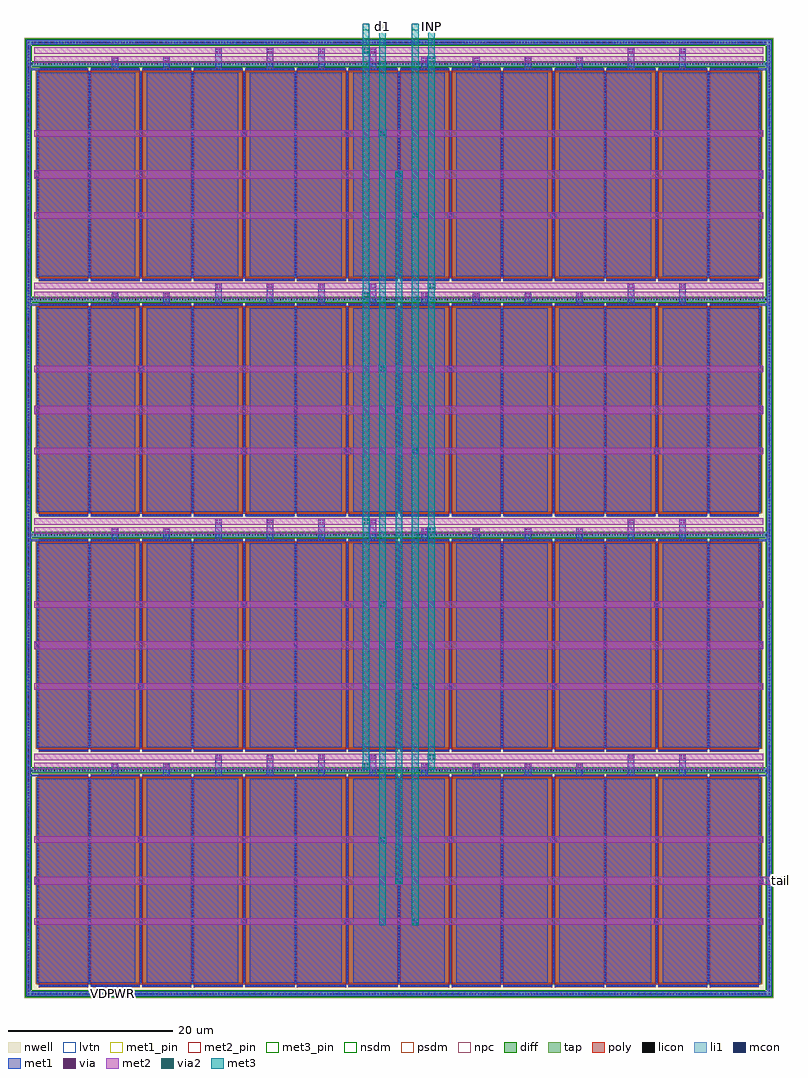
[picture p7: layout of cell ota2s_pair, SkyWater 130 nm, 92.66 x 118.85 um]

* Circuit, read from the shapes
.subckt ota2s_pair INN INP VDPWR d1 tail x1
XM1 tail VDPWR tail VDPWR sky130_fd_pr__pfet_01v8_lvt w=25 l=6 m=8
XM2 d1 INN tail VDPWR sky130_fd_pr__pfet_01v8_lvt w=25 l=6 m=24
XM3 x1 INP tail VDPWR sky130_fd_pr__pfet_01v8_lvt w=25 l=6 m=24
.ends

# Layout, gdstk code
import gdstk
lib = gdstk.Library(unit=1e-6, precision=1e-09)
def R(c, l, rs):  # rectangles x0, y0, x1, y1
    for r in rs: c.add(gdstk.rectangle(r[:2], r[2:], *l))
def A(c, l, x, y, w, h, nx, ny, dx, dy):  # array of equal rectangles
    R(c, l, [(x+i*dx, y+j*dy, x+i*dx+w, y+j*dy+h) for i in range(nx) for j in range(ny)])
nwell = (64, 20)
diff = (65, 20)
tap = (65, 44)
poly = (66, 20)
licon = (66, 44)
li1 = (67, 20)
mcon = (67, 44)
met1_pin = (68, 16)
met1 = (68, 20)
via = (68, 44)
met2_pin = (69, 16)
met2 = (69, 20)
via2 = (69, 44)
met3_pin = (70, 16)
met3 = (70, 20)
nsdm = (93, 44)
psdm = (94, 20)
npc = (95, 20)
lvtn = (125, 44)

sky130_fd_pr__pfet_01v8_ = lib.new_cell('sky130_fd_pr__pfet_01v8_lvt_BEZS2E')
R(sky130_fd_pr__pfet_01v8_, nwell, [(-44.355,-13,44.355,13)])
R(sky130_fd_pr__pfet_01v8_, diff, [(-44.175,-12.5,44.175,12.5)])
A(sky130_fd_pr__pfet_01v8_, poly, -43.885, -12.985, 6, 25.97, 14, 1, 6.29, 0)
A(sky130_fd_pr__pfet_01v8_, licon, -43.69, -12.905, 0.17, 0.17, 17, 2, 0.34, 25.64)
A(sky130_fd_pr__pfet_01v8_, licon, -37.4, -12.905, 0.17, 0.17, 17, 2, 0.34, 25.64)
A(sky130_fd_pr__pfet_01v8_, licon, -31.11, -12.905, 0.17, 0.17, 17, 2, 0.34, 25.64)
A(sky130_fd_pr__pfet_01v8_, licon, -24.82, -12.905, 0.17, 0.17, 17, 2, 0.34, 25.64)
A(sky130_fd_pr__pfet_01v8_, licon, -18.53, -12.905, 0.17, 0.17, 17, 2, 0.34, 25.64)
A(sky130_fd_pr__pfet_01v8_, licon, -12.24, -12.905, 0.17, 0.17, 17, 2, 0.34, 25.64)
A(sky130_fd_pr__pfet_01v8_, licon, -5.95, -12.905, 0.17, 0.17, 17, 2, 0.34, 25.64)
A(sky130_fd_pr__pfet_01v8_, licon, 0.34, -12.905, 0.17, 0.17, 17, 2, 0.34, 25.64)
A(sky130_fd_pr__pfet_01v8_, licon, 6.63, -12.905, 0.17, 0.17, 17, 2, 0.34, 25.64)
A(sky130_fd_pr__pfet_01v8_, licon, 12.92, -12.905, 0.17, 0.17, 17, 2, 0.34, 25.64)
A(sky130_fd_pr__pfet_01v8_, licon, 19.21, -12.905, 0.17, 0.17, 17, 2, 0.34, 25.64)
A(sky130_fd_pr__pfet_01v8_, licon, 25.5, -12.905, 0.17, 0.17, 17, 2, 0.34, 25.64)
A(sky130_fd_pr__pfet_01v8_, licon, 31.79, -12.905, 0.17, 0.17, 17, 2, 0.34, 25.64)
A(sky130_fd_pr__pfet_01v8_, licon, 38.08, -12.905, 0.17, 0.17, 17, 2, 0.34, 25.64)
A(sky130_fd_pr__pfet_01v8_, licon, -44.115, -12.325, 0.17, 0.17, 15, 73, 6.29, 0.34)
A(sky130_fd_pr__pfet_01v8_, li1, -43.885, -12.905, 6, 0.17, 14, 2, 6.29, 25.64)
A(sky130_fd_pr__pfet_01v8_, li1, -44.115, -12.52, 0.17, 25.04, 15, 1, 6.29, 0)
A(sky130_fd_pr__pfet_01v8_, mcon, -43.67, -12.905, 0.17, 0.17, 16, 2, 0.36, 25.64)
A(sky130_fd_pr__pfet_01v8_, mcon, -37.38, -12.905, 0.17, 0.17, 16, 2, 0.36, 25.64)
A(sky130_fd_pr__pfet_01v8_, mcon, -31.09, -12.905, 0.17, 0.17, 16, 2, 0.36, 25.64)
A(sky130_fd_pr__pfet_01v8_, mcon, -24.8, -12.905, 0.17, 0.17, 16, 2, 0.36, 25.64)
A(sky130_fd_pr__pfet_01v8_, mcon, -18.51, -12.905, 0.17, 0.17, 16, 2, 0.36, 25.64)
A(sky130_fd_pr__pfet_01v8_, mcon, -12.22, -12.905, 0.17, 0.17, 16, 2, 0.36, 25.64)
A(sky130_fd_pr__pfet_01v8_, mcon, -5.93, -12.905, 0.17, 0.17, 16, 2, 0.36, 25.64)
A(sky130_fd_pr__pfet_01v8_, mcon, 0.36, -12.905, 0.17, 0.17, 16, 2, 0.36, 25.64)
A(sky130_fd_pr__pfet_01v8_, mcon, 6.65, -12.905, 0.17, 0.17, 16, 2, 0.36, 25.64)
A(sky130_fd_pr__pfet_01v8_, mcon, 12.94, -12.905, 0.17, 0.17, 16, 2, 0.36, 25.64)
A(sky130_fd_pr__pfet_01v8_, mcon, 19.23, -12.905, 0.17, 0.17, 16, 2, 0.36, 25.64)
A(sky130_fd_pr__pfet_01v8_, mcon, 25.52, -12.905, 0.17, 0.17, 16, 2, 0.36, 25.64)
A(sky130_fd_pr__pfet_01v8_, mcon, 31.81, -12.905, 0.17, 0.17, 16, 2, 0.36, 25.64)
A(sky130_fd_pr__pfet_01v8_, mcon, 38.1, -12.905, 0.17, 0.17, 16, 2, 0.36, 25.64)
A(sky130_fd_pr__pfet_01v8_, mcon, -44.115, -12.325, 0.17, 0.17, 15, 69, 6.29, 0.36)
A(sky130_fd_pr__pfet_01v8_, met1, -43.865, -12.935, 5.96, 0.23, 14, 2, 6.29, 25.64)
A(sky130_fd_pr__pfet_01v8_, met1, -44.145, -12.5, 0.23, 25, 15, 1, 6.29, 0)
R(sky130_fd_pr__pfet_01v8_, psdm, [(-44.3,-12.625,44.3,12.625)])
A(sky130_fd_pr__pfet_01v8_, npc, -43.79, -13.005, 5.81, 0.37, 14, 2, 6.29, 25.64)
R(sky130_fd_pr__pfet_01v8_, lvtn, [(-44.065,-12.68,44.065,12.68)])
sky130_fd_pr__pfet_01v8_.add(gdstk.Label('G13', (40.885,12.82), layer=67, texttype=5))
sky130_fd_pr__pfet_01v8_.add(gdstk.Label('G12', (34.595,12.82), layer=67, texttype=5))
sky130_fd_pr__pfet_01v8_.add(gdstk.Label('G11', (28.305,12.82), layer=67, texttype=5))
sky130_fd_pr__pfet_01v8_.add(gdstk.Label('G10', (22.015,12.82), layer=67, texttype=5))
sky130_fd_pr__pfet_01v8_.add(gdstk.Label('D10', (18.87,0), layer=67, texttype=5))
sky130_fd_pr__pfet_01v8_.add(gdstk.Label('G9', (15.725,12.82), layer=67, texttype=5))
sky130_fd_pr__pfet_01v8_.add(gdstk.Label('S13', (37.74,0), layer=67, texttype=5))
sky130_fd_pr__pfet_01v8_.add(gdstk.Label('S9', (12.58,0), layer=67, texttype=5))
sky130_fd_pr__pfet_01v8_.add(gdstk.Label('S7', (0,0), layer=67, texttype=5))
sky130_fd_pr__pfet_01v8_.add(gdstk.Label('G6', (-3.145,12.82), layer=67, texttype=5))
sky130_fd_pr__pfet_01v8_.add(gdstk.Label('D0', (-44.03,0), layer=67, texttype=5))
sky130_fd_pr__pfet_01v8_.add(gdstk.Label('G8', (9.435,12.82), layer=67, texttype=5))
sky130_fd_pr__pfet_01v8_.add(gdstk.Label('G3', (-22.015,12.82), layer=67, texttype=5))
sky130_fd_pr__pfet_01v8_.add(gdstk.Label('D8', (6.29,0), layer=67, texttype=5))
sky130_fd_pr__pfet_01v8_.add(gdstk.Label('G1', (-34.595,12.82), layer=67, texttype=5))
sky130_fd_pr__pfet_01v8_.add(gdstk.Label('S11', (25.16,0), layer=67, texttype=5))
sky130_fd_pr__pfet_01v8_.add(gdstk.Label('D2', (-31.45,0), layer=67, texttype=5))
sky130_fd_pr__pfet_01v8_.add(gdstk.Label('G7', (3.145,12.82), layer=67, texttype=5))
sky130_fd_pr__pfet_01v8_.add(gdstk.Label('G2', (-28.305,12.82), layer=67, texttype=5))
sky130_fd_pr__pfet_01v8_.add(gdstk.Label('S3', (-25.16,0), layer=67, texttype=5))
sky130_fd_pr__pfet_01v8_.add(gdstk.Label('S1', (-37.74,0), layer=67, texttype=5))
sky130_fd_pr__pfet_01v8_.add(gdstk.Label('S5', (-12.58,0), layer=67, texttype=5))
sky130_fd_pr__pfet_01v8_.add(gdstk.Label('D4', (-18.87,0), layer=67, texttype=5))
sky130_fd_pr__pfet_01v8_.add(gdstk.Label('G0', (-40.885,12.82), layer=67, texttype=5))
sky130_fd_pr__pfet_01v8_.add(gdstk.Label('G4', (-15.725,12.82), layer=67, texttype=5))
sky130_fd_pr__pfet_01v8_.add(gdstk.Label('D12', (31.45,0), layer=67, texttype=5))
sky130_fd_pr__pfet_01v8_.add(gdstk.Label('G5', (-9.435,12.82), layer=67, texttype=5))
sky130_fd_pr__pfet_01v8_.add(gdstk.Label('D6', (-6.29,0), layer=67, texttype=5))

ota2s_pair_arr = lib.new_cell('ota2s_pair_arr')
R(ota2s_pair_arr, nwell, [(-0.25,-0.25,91.16,116.85)])
A(ota2s_pair_arr, tap, 0, 27.3, 90.91, 0.5, 1, 4, 0, 28.7)
A(ota2s_pair_arr, tap, 0, 27.8, 0.6, 28.2, 1, 3, 0, 28.7)
A(ota2s_pair_arr, tap, 90.31, 27.8, 0.6, 28.2, 1, 3, 0, 28.7)
R(ota2s_pair_arr, tap, [(0,0,90.91,0.6), (0,0.6,0.6,27.3), (90.31,0.6,90.91,27.3), (0,113.9,0.6,116), (90.31,113.9,90.91,116), (0,116,90.91,116.6)])
A(ota2s_pair_arr, licon, 0.66, 0.215, 0.17, 0.17, 264, 2, 0.34, 27.25)
A(ota2s_pair_arr, licon, 0.215, 0.58, 0.17, 0.17, 1, 79, 0, 0.34)
A(ota2s_pair_arr, licon, 90.525, 0.58, 0.17, 0.17, 1, 79, 0, 0.34)
A(ota2s_pair_arr, licon, 0.215, 27.875, 0.17, 0.17, 1, 83, 0, 0.34)
A(ota2s_pair_arr, licon, 90.525, 27.875, 0.17, 0.17, 1, 83, 0, 0.34)
A(ota2s_pair_arr, licon, 0.66, 56.165, 0.17, 0.17, 264, 3, 0.34, 28.7)
A(ota2s_pair_arr, licon, 0.215, 56.575, 0.17, 0.17, 1, 83, 0, 0.34)
A(ota2s_pair_arr, licon, 90.525, 56.575, 0.17, 0.17, 1, 83, 0, 0.34)
A(ota2s_pair_arr, licon, 0.215, 85.275, 0.17, 0.17, 1, 83, 0, 0.34)
A(ota2s_pair_arr, licon, 90.525, 85.275, 0.17, 0.17, 1, 83, 0, 0.34)
A(ota2s_pair_arr, licon, 0.215, 114.04, 0.17, 0.17, 1, 6, 0, 0.34)
A(ota2s_pair_arr, licon, 90.525, 114.04, 0.17, 0.17, 1, 6, 0, 0.34)
A(ota2s_pair_arr, licon, 0.66, 116.215, 0.17, 0.17, 264, 1, 0.34, 0)
R(ota2s_pair_arr, licon, [(0.215,0.215,0.385,0.385), (90.525,0.215,90.695,0.385), (0.215,27.465,0.385,27.635), (90.525,27.465,90.695,27.635), (0.215,56.165,0.385,56.335), (90.525,56.165,90.695,56.335), (0.215,84.865,0.385,85.035), (90.525,84.865,90.695,85.035), (0.215,113.565,0.385,113.735), (90.525,113.565,90.695,113.735), (0.215,116.215,0.385,116.385), (90.525,116.215,90.695,116.385)])
A(ota2s_pair_arr, li1, 0, 27.3, 90.91, 0.5, 1, 4, 0, 28.7)
A(ota2s_pair_arr, li1, 0, 27.8, 0.6, 28.2, 1, 3, 0, 28.7)
A(ota2s_pair_arr, li1, 90.31, 27.8, 0.6, 28.2, 1, 3, 0, 28.7)
R(ota2s_pair_arr, li1, [(0,0,90.91,0.6), (0,0.6,0.6,27.3), (90.31,0.6,90.91,27.3), (0,113.9,0.6,116), (90.31,113.9,90.91,116), (0,116,90.91,116.6)])
A(ota2s_pair_arr, mcon, 0.73, 0.215, 0.17, 0.17, 249, 2, 0.36, 116)
A(ota2s_pair_arr, mcon, 0.215, 0.615, 0.17, 0.17, 1, 321, 0, 0.36)
A(ota2s_pair_arr, mcon, 90.525, 0.615, 0.17, 0.17, 1, 321, 0, 0.36)
R(ota2s_pair_arr, mcon, [(0.215,0.215,0.385,0.385), (90.525,0.215,90.695,0.385), (0.215,116.215,0.385,116.385), (90.525,116.215,90.695,116.385)])
A(ota2s_pair_arr, met1, 14.705, 1.68, 11.18, 24.84, 5, 4, 12.58, 28.7)
A(ota2s_pair_arr, met1, 1.025, 13.7, 12.28, 0.8, 1, 4, 0, 28.7)
A(ota2s_pair_arr, met1, 77.605, 13.7, 12.28, 0.8, 1, 4, 0, 28.7)
A(ota2s_pair_arr, met1, 0, 26.805, 7.55, 0.23, 1, 4, 0, 28.7)
A(ota2s_pair_arr, met1, 10.46, 26.805, 0.8, 1.695, 1, 4, 0, 28.7)
A(ota2s_pair_arr, met1, 16.75, 26.805, 0.8, 1.695, 1, 4, 0, 28.7)
A(ota2s_pair_arr, met1, 23.04, 26.805, 0.8, 2.795, 4, 4, 6.29, 28.7)
A(ota2s_pair_arr, met1, 48.2, 26.805, 0.8, 1.695, 4, 4, 6.29, 28.7)
A(ota2s_pair_arr, met1, 73.36, 26.805, 0.8, 2.795, 1, 4, 0, 28.7)
A(ota2s_pair_arr, met1, 79.65, 26.805, 0.8, 2.795, 1, 4, 0, 28.7)
A(ota2s_pair_arr, met1, 83.36, 26.805, 7.55, 0.23, 1, 4, 0, 28.7)
A(ota2s_pair_arr, met1, 0, 27.035, 0.6, 28.47, 1, 3, 0, 28.7)
A(ota2s_pair_arr, met1, 90.31, 27.035, 0.6, 28.47, 1, 3, 0, 28.7)
R(ota2s_pair_arr, met1, [(0,0,90.91,0.6), (0,0.6,0.6,26.805), (90.31,0.6,90.91,26.805), (1.31,1.68,13.305,13.7), (77.605,1.68,89.6,13.7), (26.185,8.7,26.985,9.5), (38.765,8.7,39.565,9.5), (76.505,8.7,77.305,9.5), (1.31,14.5,13.305,26.52), (77.605,14.5,89.6,26.52), (13.605,18.7,14.405,19.5), (51.345,18.7,52.145,19.5), (63.925,18.7,64.725,19.5), (1.31,30.38,13.305,42.4), (77.605,30.38,89.6,42.4), (13.605,37.4,14.405,38.2), (51.345,37.4,52.145,38.2), (63.925,37.4,64.725,38.2), (1.31,43.2,13.305,55.22), (77.605,43.2,89.6,55.22), (26.185,47.4,26.985,48.2), (38.765,47.4,39.565,48.2), (76.505,47.4,77.305,48.2), (1.31,59.08,13.305,71.1), (77.605,59.08,89.6,71.1), (26.185,66.1,26.985,66.9), (38.765,66.1,39.565,66.9), (76.505,66.1,77.305,66.9), (1.31,71.9,13.305,83.92), (77.605,71.9,89.6,83.92), (13.605,76.1,14.405,76.9), (51.345,76.1,52.145,76.9), (63.925,76.1,64.725,76.9), (1.31,87.78,13.305,99.8), (77.605,87.78,89.6,99.8), (13.605,94.8,14.405,95.6), (51.345,94.8,52.145,95.6), (63.925,94.8,64.725,95.6), (1.31,100.6,13.305,112.62), (77.605,100.6,89.6,112.62), (26.185,104.8,26.985,105.6), (38.765,104.8,39.565,105.6), (76.505,104.8,77.305,105.6), (0,113.135,0.6,116), (90.31,113.135,90.91,116), (0,116,90.91,116.6)])
R(ota2s_pair_arr, via, [(26.35,8.865,26.5,9.015), (26.67,8.865,26.82,9.015), (38.93,8.865,39.08,9.015), (39.25,8.865,39.4,9.015), (76.67,8.865,76.82,9.015), (76.99,8.865,77.14,9.015), (26.35,9.185,26.5,9.335), (26.67,9.185,26.82,9.335), (38.93,9.185,39.08,9.335), (39.25,9.185,39.4,9.335), (76.67,9.185,76.82,9.335), (76.99,9.185,77.14,9.335), (1.19,13.865,1.34,14.015), (1.51,13.865,1.66,14.015), (7.48,13.865,7.63,14.015), (7.8,13.865,7.95,14.015), (20.06,13.865,20.21,14.015), (20.38,13.865,20.53,14.015), (32.64,13.865,32.79,14.015), (32.96,13.865,33.11,14.015), (45.22,13.865,45.37,14.015), (45.54,13.865,45.69,14.015), (57.8,13.865,57.95,14.015), (58.12,13.865,58.27,14.015), (70.38,13.865,70.53,14.015), (70.7,13.865,70.85,14.015), (82.96,13.865,83.11,14.015), (83.28,13.865,83.43,14.015), (89.25,13.865,89.4,14.015), (89.57,13.865,89.72,14.015), (1.19,14.185,1.34,14.335), (1.51,14.185,1.66,14.335), (7.48,14.185,7.63,14.335), (7.8,14.185,7.95,14.335), (20.06,14.185,20.21,14.335), (20.38,14.185,20.53,14.335), (32.64,14.185,32.79,14.335), (32.96,14.185,33.11,14.335), (45.22,14.185,45.37,14.335), (45.54,14.185,45.69,14.335), (57.8,14.185,57.95,14.335), (58.12,14.185,58.27,14.335), (70.38,14.185,70.53,14.335), (70.7,14.185,70.85,14.335), (82.96,14.185,83.11,14.335), (83.28,14.185,83.43,14.335), (89.25,14.185,89.4,14.335), (89.57,14.185,89.72,14.335), (13.77,18.865,13.92,19.015), (14.09,18.865,14.24,19.015), (51.51,18.865,51.66,19.015), (51.83,18.865,51.98,19.015), (64.09,18.865,64.24,19.015), (64.41,18.865,64.56,19.015), (13.77,19.185,13.92,19.335), (14.09,19.185,14.24,19.335), (51.51,19.185,51.66,19.335), (51.83,19.185,51.98,19.335), (64.09,19.185,64.24,19.335), (64.41,19.185,64.56,19.335), (10.625,27.865,10.775,28.015), (10.945,27.865,11.095,28.015), (16.915,27.865,17.065,28.015), (17.235,27.865,17.385,28.015), (48.365,27.865,48.515,28.015), (48.685,27.865,48.835,28.015), (54.655,27.865,54.805,28.015), (54.975,27.865,55.125,28.015), (60.945,27.865,61.095,28.015), (61.265,27.865,61.415,28.015), (67.235,27.865,67.385,28.015), (67.555,27.865,67.705,28.015), (10.625,28.185,10.775,28.335), (10.945,28.185,11.095,28.335), (16.915,28.185,17.065,28.335), (17.235,28.185,17.385,28.335), (48.365,28.185,48.515,28.335), (48.685,28.185,48.835,28.335), (54.655,28.185,54.805,28.335), (54.975,28.185,55.125,28.335), (60.945,28.185,61.095,28.335), (61.265,28.185,61.415,28.335), (67.235,28.185,67.385,28.335), (67.555,28.185,67.705,28.335), (23.205,28.965,23.355,29.115), (23.525,28.965,23.675,29.115), (29.495,28.965,29.645,29.115), (29.815,28.965,29.965,29.115), (35.785,28.965,35.935,29.115), (36.105,28.965,36.255,29.115), (42.075,28.965,42.225,29.115), (42.395,28.965,42.545,29.115), (73.525,28.965,73.675,29.115), (73.845,28.965,73.995,29.115), (79.815,28.965,79.965,29.115), (80.135,28.965,80.285,29.115), (23.205,29.285,23.355,29.435), (23.525,29.285,23.675,29.435), (29.495,29.285,29.645,29.435), (29.815,29.285,29.965,29.435), (35.785,29.285,35.935,29.435), (36.105,29.285,36.255,29.435), (42.075,29.285,42.225,29.435), (42.395,29.285,42.545,29.435), (73.525,29.285,73.675,29.435), (73.845,29.285,73.995,29.435), (79.815,29.285,79.965,29.435), (80.135,29.285,80.285,29.435), (13.77,37.565,13.92,37.715), (14.09,37.565,14.24,37.715), (51.51,37.565,51.66,37.715), (51.83,37.565,51.98,37.715), (64.09,37.565,64.24,37.715), (64.41,37.565,64.56,37.715), (13.77,37.885,13.92,38.035), (14.09,37.885,14.24,38.035), (51.51,37.885,51.66,38.035), (51.83,37.885,51.98,38.035), (64.09,37.885,64.24,38.035), (64.41,37.885,64.56,38.035), (1.19,42.565,1.34,42.715), (1.51,42.565,1.66,42.715), (7.48,42.565,7.63,42.715), (7.8,42.565,7.95,42.715), (20.06,42.565,20.21,42.715), (20.38,42.565,20.53,42.715), (32.64,42.565,32.79,42.715), (32.96,42.565,33.11,42.715), (45.22,42.565,45.37,42.715), (45.54,42.565,45.69,42.715), (57.8,42.565,57.95,42.715), (58.12,42.565,58.27,42.715), (70.38,42.565,70.53,42.715), (70.7,42.565,70.85,42.715), (82.96,42.565,83.11,42.715), (83.28,42.565,83.43,42.715), (89.25,42.565,89.4,42.715), (89.57,42.565,89.72,42.715), (1.19,42.885,1.34,43.035), (1.51,42.885,1.66,43.035), (7.48,42.885,7.63,43.035), (7.8,42.885,7.95,43.035), (20.06,42.885,20.21,43.035), (20.38,42.885,20.53,43.035), (32.64,42.885,32.79,43.035), (32.96,42.885,33.11,43.035), (45.22,42.885,45.37,43.035), (45.54,42.885,45.69,43.035), (57.8,42.885,57.95,43.035), (58.12,42.885,58.27,43.035), (70.38,42.885,70.53,43.035), (70.7,42.885,70.85,43.035), (82.96,42.885,83.11,43.035), (83.28,42.885,83.43,43.035), (89.25,42.885,89.4,43.035), (89.57,42.885,89.72,43.035), (26.35,47.565,26.5,47.715), (26.67,47.565,26.82,47.715), (38.93,47.565,39.08,47.715), (39.25,47.565,39.4,47.715), (76.67,47.565,76.82,47.715), (76.99,47.565,77.14,47.715), (26.35,47.885,26.5,48.035), (26.67,47.885,26.82,48.035), (38.93,47.885,39.08,48.035), (39.25,47.885,39.4,48.035), (76.67,47.885,76.82,48.035), (76.99,47.885,77.14,48.035), (10.625,56.565,10.775,56.715), (10.945,56.565,11.095,56.715), (16.915,56.565,17.065,56.715), (17.235,56.565,17.385,56.715), (48.365,56.565,48.515,56.715), (48.685,56.565,48.835,56.715), (54.655,56.565,54.805,56.715), (54.975,56.565,55.125,56.715), (60.945,56.565,61.095,56.715), (61.265,56.565,61.415,56.715), (67.235,56.565,67.385,56.715), (67.555,56.565,67.705,56.715), (10.625,56.885,10.775,57.035), (10.945,56.885,11.095,57.035), (16.915,56.885,17.065,57.035), (17.235,56.885,17.385,57.035), (48.365,56.885,48.515,57.035), (48.685,56.885,48.835,57.035), (54.655,56.885,54.805,57.035), (54.975,56.885,55.125,57.035), (60.945,56.885,61.095,57.035), (61.265,56.885,61.415,57.035), (67.235,56.885,67.385,57.035), (67.555,56.885,67.705,57.035), (23.205,57.665,23.355,57.815), (23.525,57.665,23.675,57.815), (29.495,57.665,29.645,57.815), (29.815,57.665,29.965,57.815), (35.785,57.665,35.935,57.815), (36.105,57.665,36.255,57.815), (42.075,57.665,42.225,57.815), (42.395,57.665,42.545,57.815), (73.525,57.665,73.675,57.815), (73.845,57.665,73.995,57.815), (79.815,57.665,79.965,57.815), (80.135,57.665,80.285,57.815), (23.205,57.985,23.355,58.135), (23.525,57.985,23.675,58.135), (29.495,57.985,29.645,58.135), (29.815,57.985,29.965,58.135), (35.785,57.985,35.935,58.135), (36.105,57.985,36.255,58.135), (42.075,57.985,42.225,58.135), (42.395,57.985,42.545,58.135), (73.525,57.985,73.675,58.135), (73.845,57.985,73.995,58.135), (79.815,57.985,79.965,58.135), (80.135,57.985,80.285,58.135), (26.35,66.265,26.5,66.415), (26.67,66.265,26.82,66.415), (38.93,66.265,39.08,66.415), (39.25,66.265,39.4,66.415), (76.67,66.265,76.82,66.415), (76.99,66.265,77.14,66.415), (26.35,66.585,26.5,66.735), (26.67,66.585,26.82,66.735), (38.93,66.585,39.08,66.735), (39.25,66.585,39.4,66.735), (76.67,66.585,76.82,66.735), (76.99,66.585,77.14,66.735), (1.19,71.265,1.34,71.415), (1.51,71.265,1.66,71.415), (7.48,71.265,7.63,71.415), (7.8,71.265,7.95,71.415), (20.06,71.265,20.21,71.415), (20.38,71.265,20.53,71.415), (32.64,71.265,32.79,71.415), (32.96,71.265,33.11,71.415), (45.22,71.265,45.37,71.415), (45.54,71.265,45.69,71.415), (57.8,71.265,57.95,71.415), (58.12,71.265,58.27,71.415), (70.38,71.265,70.53,71.415), (70.7,71.265,70.85,71.415), (82.96,71.265,83.11,71.415), (83.28,71.265,83.43,71.415), (89.25,71.265,89.4,71.415), (89.57,71.265,89.72,71.415), (1.19,71.585,1.34,71.735), (1.51,71.585,1.66,71.735), (7.48,71.585,7.63,71.735), (7.8,71.585,7.95,71.735), (20.06,71.585,20.21,71.735), (20.38,71.585,20.53,71.735), (32.64,71.585,32.79,71.735), (32.96,71.585,33.11,71.735), (45.22,71.585,45.37,71.735), (45.54,71.585,45.69,71.735), (57.8,71.585,57.95,71.735), (58.12,71.585,58.27,71.735), (70.38,71.585,70.53,71.735), (70.7,71.585,70.85,71.735), (82.96,71.585,83.11,71.735), (83.28,71.585,83.43,71.735), (89.25,71.585,89.4,71.735), (89.57,71.585,89.72,71.735), (13.77,76.265,13.92,76.415), (14.09,76.265,14.24,76.415), (51.51,76.265,51.66,76.415), (51.83,76.265,51.98,76.415), (64.09,76.265,64.24,76.415), (64.41,76.265,64.56,76.415), (13.77,76.585,13.92,76.735), (14.09,76.585,14.24,76.735), (51.51,76.585,51.66,76.735), (51.83,76.585,51.98,76.735), (64.09,76.585,64.24,76.735), (64.41,76.585,64.56,76.735), (10.625,85.265,10.775,85.415), (10.945,85.265,11.095,85.415), (16.915,85.265,17.065,85.415), (17.235,85.265,17.385,85.415), (48.365,85.265,48.515,85.415), (48.685,85.265,48.835,85.415), (54.655,85.265,54.805,85.415), (54.975,85.265,55.125,85.415), (60.945,85.265,61.095,85.415), (61.265,85.265,61.415,85.415), (67.235,85.265,67.385,85.415), (67.555,85.265,67.705,85.415), (10.625,85.585,10.775,85.735), (10.945,85.585,11.095,85.735), (16.915,85.585,17.065,85.735), (17.235,85.585,17.385,85.735), (48.365,85.585,48.515,85.735), (48.685,85.585,48.835,85.735), (54.655,85.585,54.805,85.735), (54.975,85.585,55.125,85.735), (60.945,85.585,61.095,85.735), (61.265,85.585,61.415,85.735), (67.235,85.585,67.385,85.735), (67.555,85.585,67.705,85.735), (23.205,86.365,23.355,86.515), (23.525,86.365,23.675,86.515), (29.495,86.365,29.645,86.515), (29.815,86.365,29.965,86.515), (35.785,86.365,35.935,86.515), (36.105,86.365,36.255,86.515), (42.075,86.365,42.225,86.515), (42.395,86.365,42.545,86.515), (73.525,86.365,73.675,86.515), (73.845,86.365,73.995,86.515), (79.815,86.365,79.965,86.515), (80.135,86.365,80.285,86.515), (23.205,86.685,23.355,86.835), (23.525,86.685,23.675,86.835), (29.495,86.685,29.645,86.835), (29.815,86.685,29.965,86.835), (35.785,86.685,35.935,86.835), (36.105,86.685,36.255,86.835), (42.075,86.685,42.225,86.835), (42.395,86.685,42.545,86.835), (73.525,86.685,73.675,86.835), (73.845,86.685,73.995,86.835), (79.815,86.685,79.965,86.835), (80.135,86.685,80.285,86.835), (13.77,94.965,13.92,95.115), (14.09,94.965,14.24,95.115), (51.51,94.965,51.66,95.115), (51.83,94.965,51.98,95.115), (64.09,94.965,64.24,95.115), (64.41,94.965,64.56,95.115), (13.77,95.285,13.92,95.435), (14.09,95.285,14.24,95.435), (51.51,95.285,51.66,95.435), (51.83,95.285,51.98,95.435), (64.09,95.285,64.24,95.435), (64.41,95.285,64.56,95.435), (1.19,99.965,1.34,100.115), (1.51,99.965,1.66,100.115), (7.48,99.965,7.63,100.115), (7.8,99.965,7.95,100.115), (20.06,99.965,20.21,100.115), (20.38,99.965,20.53,100.115), (32.64,99.965,32.79,100.115), (32.96,99.965,33.11,100.115), (45.22,99.965,45.37,100.115), (45.54,99.965,45.69,100.115), (57.8,99.965,57.95,100.115), (58.12,99.965,58.27,100.115), (70.38,99.965,70.53,100.115), (70.7,99.965,70.85,100.115), (82.96,99.965,83.11,100.115), (83.28,99.965,83.43,100.115), (89.25,99.965,89.4,100.115), (89.57,99.965,89.72,100.115), (1.19,100.285,1.34,100.435), (1.51,100.285,1.66,100.435), (7.48,100.285,7.63,100.435), (7.8,100.285,7.95,100.435), (20.06,100.285,20.21,100.435), (20.38,100.285,20.53,100.435), (32.64,100.285,32.79,100.435), (32.96,100.285,33.11,100.435), (45.22,100.285,45.37,100.435), (45.54,100.285,45.69,100.435), (57.8,100.285,57.95,100.435), (58.12,100.285,58.27,100.435), (70.38,100.285,70.53,100.435), (70.7,100.285,70.85,100.435), (82.96,100.285,83.11,100.435), (83.28,100.285,83.43,100.435), (89.25,100.285,89.4,100.435), (89.57,100.285,89.72,100.435), (26.35,104.965,26.5,105.115), (26.67,104.965,26.82,105.115), (38.93,104.965,39.08,105.115), (39.25,104.965,39.4,105.115), (76.67,104.965,76.82,105.115), (76.99,104.965,77.14,105.115), (26.35,105.285,26.5,105.435), (26.67,105.285,26.82,105.435), (38.93,105.285,39.08,105.435), (39.25,105.285,39.4,105.435), (76.67,105.285,76.82,105.435), (76.99,105.285,77.14,105.435), (10.625,113.965,10.775,114.115), (10.945,113.965,11.095,114.115), (16.915,113.965,17.065,114.115), (17.235,113.965,17.385,114.115), (48.365,113.965,48.515,114.115), (48.685,113.965,48.835,114.115), (54.655,113.965,54.805,114.115), (54.975,113.965,55.125,114.115), (60.945,113.965,61.095,114.115), (61.265,113.965,61.415,114.115), (67.235,113.965,67.385,114.115), (67.555,113.965,67.705,114.115), (10.625,114.285,10.775,114.435), (10.945,114.285,11.095,114.435), (16.915,114.285,17.065,114.435), (17.235,114.285,17.385,114.435), (48.365,114.285,48.515,114.435), (48.685,114.285,48.835,114.435), (54.655,114.285,54.805,114.435), (54.975,114.285,55.125,114.435), (60.945,114.285,61.095,114.435), (61.265,114.285,61.415,114.435), (67.235,114.285,67.385,114.435), (67.555,114.285,67.705,114.435), (23.205,115.065,23.355,115.215), (23.525,115.065,23.675,115.215), (29.495,115.065,29.645,115.215), (29.815,115.065,29.965,115.215), (35.785,115.065,35.935,115.215), (36.105,115.065,36.255,115.215), (42.075,115.065,42.225,115.215), (42.395,115.065,42.545,115.215), (73.525,115.065,73.675,115.215), (73.845,115.065,73.995,115.215), (79.815,115.065,79.965,115.215), (80.135,115.065,80.285,115.215), (23.205,115.385,23.355,115.535), (23.525,115.385,23.675,115.535), (29.495,115.385,29.645,115.535), (29.815,115.385,29.965,115.535), (35.785,115.385,35.935,115.535), (36.105,115.385,36.255,115.535), (42.075,115.385,42.225,115.535), (42.395,115.385,42.545,115.535), (73.525,115.385,73.675,115.535), (73.845,115.385,73.995,115.535), (79.815,115.385,79.965,115.535), (80.135,115.385,80.285,115.535)])
A(ota2s_pair_arr, met2, 1.025, 13.6, 88.86, 1, 1, 4, 0, 28.7)
R(ota2s_pair_arr, met2, [(1.025,8.7,89.885,9.5), (1.025,18.7,89.885,19.5), (1.025,27.7,89.885,28.5), (1.025,28.8,89.885,29.6), (1.025,37.4,89.885,38.2), (1.025,47.4,89.885,48.2), (1.025,56.4,89.885,57.2), (1.025,57.5,89.885,58.3), (1.025,66.1,89.885,66.9), (1.025,76.1,89.885,76.9), (1.025,85.1,89.885,85.9), (1.025,86.2,89.885,87), (1.025,94.8,89.885,95.6), (1.025,104.8,89.885,105.6), (1.025,113.8,89.885,114.6), (1.025,114.9,89.885,115.7)])
A(ota2s_pair_arr, nsdm, -0.125, 27.175, 91.16, 0.75, 1, 4, 0, 28.7)
A(ota2s_pair_arr, nsdm, -0.125, 27.925, 0.85, 27.95, 1, 3, 0, 28.7)
A(ota2s_pair_arr, nsdm, 90.185, 27.925, 0.85, 27.95, 1, 3, 0, 28.7)
R(ota2s_pair_arr, nsdm, [(-0.125,-0.125,91.035,0.725), (-0.125,0.725,0.725,27.175), (90.185,0.725,91.035,27.175), (-0.125,114.025,0.725,115.875), (90.185,114.025,91.035,115.875), (-0.125,115.875,91.035,116.725)])
ota2s_pair_arr.add(gdstk.Reference(sky130_fd_pr__pfet_01v8_, (45.455,100.2)))
ota2s_pair_arr.add(gdstk.Reference(sky130_fd_pr__pfet_01v8_, (45.455,71.5)))
ota2s_pair_arr.add(gdstk.Reference(sky130_fd_pr__pfet_01v8_, (45.455,42.8)))
ota2s_pair_arr.add(gdstk.Reference(sky130_fd_pr__pfet_01v8_, (45.455,14.1)))

ota2s_pair = lib.new_cell('ota2s_pair')
R(ota2s_pair, met1_pin, [(10,0,11,0.6)])
R(ota2s_pair, met1, [(10,0,11,0.6)])
R(ota2s_pair, met2_pin, [(91.61,13.6,92.41,14.6)])
A(ota2s_pair, met2, 47.055, 8.7, 0.8, 0.8, 1, 4, 0, 28.7)
A(ota2s_pair, met2, 45.055, 13.7, 0.8, 0.8, 1, 4, 0, 28.7)
A(ota2s_pair, met2, 43.055, 18.7, 0.8, 0.8, 1, 4, 0, 28.7)
R(ota2s_pair, met2, [(89.885,13.6,92.41,14.6), (41.055,27.7,41.855,28.5), (49.055,28.8,49.855,29.6), (49.055,56.4,49.855,57.2), (41.055,57.5,41.855,58.3), (41.055,85.1,41.855,85.9), (49.055,86.2,49.855,87), (49.055,113.8,49.855,114.6), (41.055,114.9,41.855,115.7)])
R(ota2s_pair, via2, [(47.155,8.8,47.355,9), (47.555,8.8,47.755,9), (47.155,9.2,47.355,9.4), (47.555,9.2,47.755,9.4), (45.155,13.8,45.355,14), (45.555,13.8,45.755,14), (45.155,14.2,45.355,14.4), (45.555,14.2,45.755,14.4), (43.155,18.8,43.355,19), (43.555,18.8,43.755,19), (43.155,19.2,43.355,19.4), (43.555,19.2,43.755,19.4), (41.155,27.8,41.355,28), (41.555,27.8,41.755,28), (41.155,28.2,41.355,28.4), (41.555,28.2,41.755,28.4), (49.155,28.9,49.355,29.1), (49.555,28.9,49.755,29.1), (49.155,29.3,49.355,29.5), (49.555,29.3,49.755,29.5), (47.155,37.5,47.355,37.7), (47.555,37.5,47.755,37.7), (47.155,37.9,47.355,38.1), (47.555,37.9,47.755,38.1), (45.155,42.5,45.355,42.7), (45.555,42.5,45.755,42.7), (45.155,42.9,45.355,43.1), (45.555,42.9,45.755,43.1), (43.155,47.5,43.355,47.7), (43.555,47.5,43.755,47.7), (43.155,47.9,43.355,48.1), (43.555,47.9,43.755,48.1), (49.155,56.5,49.355,56.7), (49.555,56.5,49.755,56.7), (49.155,56.9,49.355,57.1), (49.555,56.9,49.755,57.1), (41.155,57.6,41.355,57.8), (41.555,57.6,41.755,57.8), (41.155,58,41.355,58.2), (41.555,58,41.755,58.2), (47.155,66.2,47.355,66.4), (47.555,66.2,47.755,66.4), (47.155,66.6,47.355,66.8), (47.555,66.6,47.755,66.8), (45.155,71.2,45.355,71.4), (45.555,71.2,45.755,71.4), (45.155,71.6,45.355,71.8), (45.555,71.6,45.755,71.8), (43.155,76.2,43.355,76.4), (43.555,76.2,43.755,76.4), (43.155,76.6,43.355,76.8), (43.555,76.6,43.755,76.8), (41.155,85.2,41.355,85.4), (41.555,85.2,41.755,85.4), (41.155,85.6,41.355,85.8), (41.555,85.6,41.755,85.8), (49.155,86.3,49.355,86.5), (49.555,86.3,49.755,86.5), (49.155,86.7,49.355,86.9), (49.555,86.7,49.755,86.9), (47.155,94.9,47.355,95.1), (47.555,94.9,47.755,95.1), (47.155,95.3,47.355,95.5), (47.555,95.3,47.755,95.5), (45.155,99.9,45.355,100.1), (45.555,99.9,45.755,100.1), (45.155,100.3,45.355,100.5), (45.555,100.3,45.755,100.5), (43.155,104.9,43.355,105.1), (43.555,104.9,43.755,105.1), (43.155,105.3,43.355,105.5), (43.555,105.3,43.755,105.5), (49.155,113.9,49.355,114.1), (49.555,113.9,49.755,114.1), (49.155,114.3,49.355,114.5), (49.555,114.3,49.755,114.5), (41.155,115,41.355,115.2), (41.555,115,41.755,115.2), (41.155,115.4,41.355,115.6), (41.555,115.4,41.755,115.6)])
R(ota2s_pair, met3_pin, [(41.055,117.8,41.855,118.6), (43.055,117.8,43.855,118.6), (47.055,117.8,47.855,118.6), (49.055,117.8,49.855,118.6)])
A(ota2s_pair, met3, 47.005, 8.65, 0.9, 0.9, 1, 4, 0, 28.7)
A(ota2s_pair, met3, 47.055, 9.55, 0.8, 27.8, 1, 3, 0, 28.7)
A(ota2s_pair, met3, 45.005, 13.65, 0.9, 0.9, 1, 4, 0, 28.7)
A(ota2s_pair, met3, 45.055, 14.55, 0.8, 27.8, 1, 3, 0, 28.7)
A(ota2s_pair, met3, 43.005, 18.65, 0.9, 0.9, 1, 4, 0, 28.7)
A(ota2s_pair, met3, 43.055, 19.55, 0.8, 27.8, 1, 3, 0, 28.7)
R(ota2s_pair, met3, [(43.055,8.65,43.855,18.65), (41.005,27.65,41.905,28.55), (49.055,27.65,49.855,28.75), (41.055,28.55,41.855,57.45), (49.005,28.75,49.905,29.65), (49.055,29.65,49.855,56.35), (49.005,56.35,49.905,57.25), (49.055,57.25,49.855,86.15), (41.005,57.45,41.905,58.35), (41.055,58.35,41.855,85.05), (41.005,85.05,41.905,85.95), (41.055,85.95,41.855,114.85), (49.005,86.15,49.905,87.05), (49.055,87.05,49.855,113.75), (47.055,95.65,47.855,118.6), (43.055,105.65,43.855,118.6), (49.005,113.75,49.905,114.65), (49.055,114.65,49.855,118.6), (41.005,114.85,41.905,115.75), (41.055,115.75,41.855,118.6)])
ota2s_pair.add(gdstk.Reference(ota2s_pair_arr, (0,0)))
ota2s_pair.add(gdstk.Label('tail', (92.01,14.1), layer=69, texttype=5))
ota2s_pair.add(gdstk.Label('VDPWR', (10.5,0.3), layer=68, texttype=5))
ota2s_pair.add(gdstk.Label('INP', (49.455,118.2), layer=70, texttype=5))
ota2s_pair.add(gdstk.Label('x1', (47.455,118.2), layer=70, texttype=5))
ota2s_pair.add(gdstk.Label('d1', (43.455,118.2), layer=70, texttype=5))
ota2s_pair.add(gdstk.Label('INN', (41.455,118.2), layer=70, texttype=5))

lib.write_gds('ota2s_pair.gds')
